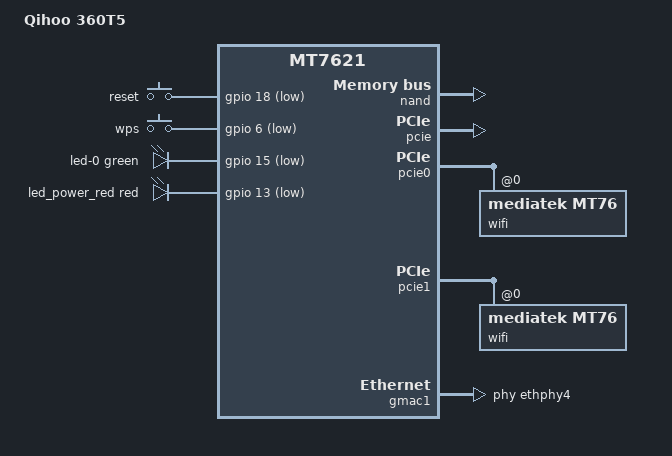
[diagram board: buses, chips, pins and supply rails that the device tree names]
// SPDX-License-Identifier: GPL-2.0-or-later OR MIT

#include "mt7621.dtsi"

#include <dt-bindings/gpio/gpio.h>
#include <dt-bindings/input/input.h>
#include <dt-bindings/leds/common.h>

/ {
	compatible = "qihoo,360t5", "mediatek,mt7621-soc";
	model = "Qihoo 360T5";

	aliases {
		led-boot = &led_power_red;
		led-failsafe = &led_power_red;
		led-running = &led_power_red;
		led-upgrade = &led_power_red;
	};

	chosen {
		bootargs = "console=ttyS0,115200";
	};

	keys {
		compatible = "gpio-keys";

		reset {
			label = "reset";
			gpios = <&gpio 18 GPIO_ACTIVE_LOW>;
			linux,code = <KEY_RESTART>;
			debounce-interval = <60>;
		};

		wps {
			label = "wps";
			gpios = <&gpio 6 GPIO_ACTIVE_LOW>;
			linux,code = <KEY_WPS_BUTTON>;
			debounce-interval = <60>;
		};
	};

	leds {
		compatible = "gpio-leds";

		led-0 {
			color = <LED_COLOR_ID_GREEN>;
			function = LED_FUNCTION_WAN;
			gpios = <&gpio 15 GPIO_ACTIVE_LOW>;
		};

		led_power_red: led-1 {
			color = <LED_COLOR_ID_RED>;
			function = LED_FUNCTION_POWER;
			gpios = <&gpio 13 GPIO_ACTIVE_LOW>;
		};
	};
};

&nand {
	status = "okay";

	mediatek,nmbm;
	mediatek,bmt-max-ratio = <1>;
	mediatek,bmt-max-reserved-blocks = <64>;

	partitions {
		compatible = "fixed-partitions";
		#address-cells = <1>;
		#size-cells = <1>;

		partition@0 {
			label = "u-boot";
			reg = <0x0 0x80000>;
		};
		partition@80000 {
			label = "u-boot-env";
			reg = <0x80000 0x80000>;
		};
		factory: partition@100000 {
			label = "factory";
			reg = <0x100000 0x40000>;
			nvmem-layout {
				compatible = "fixed-layout";
				#address-cells = <1>;
				#size-cells = <1>;

				eeprom_factory_0: eeprom@0 {
					reg = <0x0 0xe00>;
				};

				eeprom_factory_8000: eeprom@8000 {
					reg = <0x8000 0xe00>;
				};
			};

		};

		partition@140000 {
			label = "firmware";
			reg = <0x140000 0x7ec0000>;

			compatible = "fixed-partitions";
			#address-cells = <1>;
			#size-cells = <1>;

			partition@0 {
				label = "kernel";
				reg = <0x0 0x400000>;
			};

			partition@400000 {
				label = "ubi";
				reg = <0x400000 0x7ac0000>;
			};
		};
	};
};

&pcie {
	status = "okay";
};

&pcie0 {
	wifi@0,0 {
		compatible = "mediatek,mt76";
		reg = <0x0000 0 0 0 0>;

		ieee80211-freq-limit = <2400000 2500000>;

		nvmem-cells = <&eeprom_factory_0>;
		nvmem-cell-names = "eeprom";
	};
};

&pcie1 {
	wifi@0,0 {
		compatible = "mediatek,mt76";
		reg = <0x0000 0 0 0 0>;

		ieee80211-freq-limit = <5000000 6000000>;

		nvmem-cells = <&eeprom_factory_8000>;
		nvmem-cell-names = "eeprom";
	};
};

&gmac1 {
	status = "okay";
	phy-handle = <&ethphy4>;
};

&ethphy4 {
	/delete-property/ interrupts;
};

&state_default {
	gpio {
		groups = "i2c", "jtag", "uart3", "wdt";
		function = "gpio";
	};
};

&switch0 {
	ports {
		port@0 {
			status = "okay";
			label = "lan1";
		};
		port@1 {
			status = "okay";
			label = "lan2";
		};

		port@2 {
			status = "okay";
			label = "wan";
		};
	};
};
